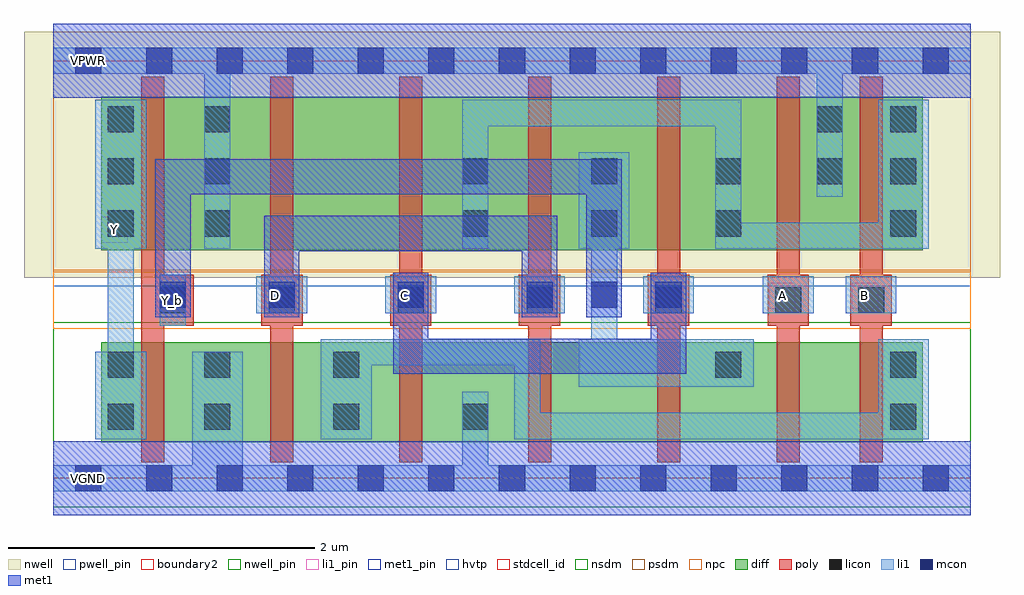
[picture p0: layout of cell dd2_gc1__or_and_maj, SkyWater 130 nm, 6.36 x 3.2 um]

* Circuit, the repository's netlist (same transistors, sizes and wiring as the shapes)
.subckt dd2_gc1__or_and_maj A B C D VGND VNB VPB VPWR Y
X0 Y_b C n1 VNB sky130_fd_pr__nfet_01v8 w=0.65 l=0.15
X1 n1 D VGND VNB sky130_fd_pr__nfet_01v8 w=0.65 l=0.15
X2 Y_b A n2 VNB sky130_fd_pr__nfet_01v8 w=0.65 l=0.15
X3 n2 B n3 VNB sky130_fd_pr__nfet_01v8 w=0.65 l=0.15
X4 n3 C VGND VNB sky130_fd_pr__nfet_01v8 w=0.65 l=0.15
X5 n3 D VGND VNB sky130_fd_pr__nfet_01v8 w=0.65 l=0.15
X6 Y_b C p1 VPB sky130_fd_pr__pfet_01v8_hvt w=1 l=0.15
X7 Y_b D p1 VPB sky130_fd_pr__pfet_01v8_hvt w=1 l=0.15
X8 p1 A VPWR VPB sky130_fd_pr__pfet_01v8_hvt w=1 l=0.15
X9 p1 B VPWR VPB sky130_fd_pr__pfet_01v8_hvt w=1 l=0.15
X10 p1 C p2 VPB sky130_fd_pr__pfet_01v8_hvt w=1 l=0.15
X11 p2 D VPWR VPB sky130_fd_pr__pfet_01v8_hvt w=1 l=0.15
X12 Y Y_b VGND VNB sky130_fd_pr__nfet_01v8 w=0.65 l=0.15
X13 Y Y_b VPWR VPB sky130_fd_pr__pfet_01v8_hvt w=1 l=0.15
.ends

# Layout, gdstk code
import gdstk
lib = gdstk.Library(unit=1e-6, precision=1e-09)
def R(c, l, rs):  # rectangles x0, y0, x1, y1
    for r in rs: c.add(gdstk.rectangle(r[:2], r[2:], *l))
def A(c, l, x, y, w, h, nx, ny, dx, dy):  # array of equal rectangles
    R(c, l, [(x+i*dx, y+j*dy, x+i*dx+w, y+j*dy+h) for i in range(nx) for j in range(ny)])
nwell_pin = (64, 16)
nwell = (64, 20)
diff = (65, 20)
poly = (66, 20)
licon = (66, 44)
li1_pin = (67, 16)
li1 = (67, 20)
mcon = (67, 44)
met1_pin = (68, 16)
met1 = (68, 20)
hvtp = (78, 44)
stdcell_id = (81, 4)
nsdm = (93, 44)
psdm = (94, 20)
npc = (95, 20)
pwell_pin = (122, 16)
boundary2 = (236, 0)

dd2_gc1__or_and_maj = lib.new_cell('dd2_gc1__or_and_maj')
R(dd2_gc1__or_and_maj, nwell_pin, [(0.145,2.635,0.315,2.805)])
R(dd2_gc1__or_and_maj, nwell, [(-0.19,1.305,6.17,2.91)])
R(dd2_gc1__or_and_maj, diff, [(0.315,0.235,5.665,0.885), (0.315,1.485,5.665,2.485)])
A(dd2_gc1__or_and_maj, poly, 0.575, 0.105, 0.15, 2.51, 5, 1, 0.84, 0)
A(dd2_gc1__or_and_maj, poly, 1.355, 0.995, 0.27, 0.33, 4, 1, 0.84, 0)
R(dd2_gc1__or_and_maj, poly, [(4.715,0.105,4.865,2.615), (5.255,0.105,5.405,2.615), (0.575,0.995,0.915,1.325), (4.655,0.995,4.925,1.325), (5.195,0.995,5.465,1.325)])
A(dd2_gc1__or_and_maj, licon, 0.985, 0.315, 0.17, 0.17, 3, 1, 0.84, 0)
A(dd2_gc1__or_and_maj, licon, 1.405, 1.075, 0.17, 0.17, 4, 1, 0.84, 0)
A(dd2_gc1__or_and_maj, licon, 0.355, 1.575, 0.17, 0.17, 1, 3, 0, 0.34)
A(dd2_gc1__or_and_maj, licon, 0.985, 1.575, 0.17, 0.17, 1, 3, 0, 0.34)
A(dd2_gc1__or_and_maj, licon, 5.455, 1.575, 0.17, 0.17, 1, 3, 0, 0.34)
R(dd2_gc1__or_and_maj, licon, [(0.355,0.315,0.525,0.485), (5.455,0.315,5.625,0.485), (0.355,0.655,0.525,0.825), (0.985,0.655,1.155,0.825), (1.825,0.655,1.995,0.825), (4.315,0.655,4.485,0.825), (5.455,0.655,5.625,0.825), (0.695,1.075,0.865,1.245), (4.705,1.075,4.875,1.245), (5.245,1.075,5.415,1.245), (2.665,1.575,2.835,1.745), (3.505,1.575,3.675,1.745), (4.315,1.575,4.485,1.745), (2.665,1.915,2.835,2.085), (3.505,1.915,3.675,2.085), (4.315,1.915,4.485,2.085), (4.975,1.915,5.145,2.085), (4.975,2.255,5.145,2.425)])
R(dd2_gc1__or_and_maj, li1_pin, [(1.365,1.105,1.535,1.275), (2.205,1.105,2.375,1.275), (4.665,1.105,4.835,1.275), (5.205,1.105,5.375,1.275), (0.315,1.535,0.485,1.705)])
A(dd2_gc1__or_and_maj, li1, 1.325, 1.075, 0.33, 0.24, 4, 1, 0.84, 0)
R(dd2_gc1__or_and_maj, li1, [(0,-0.085,5.98,0.085), (0.905,-0.085,1.235,0.825), (2.665,-0.085,2.835,0.565), (0.275,0.255,0.605,0.825), (1.745,0.255,2.075,0.905), (3.005,0.255,3.175,0.905), (3.005,0.255,5.705,0.425), (5.375,0.255,5.705,0.905), (3.425,0.595,4.565,0.905), (1.745,0.735,3.175,0.905), (0.355,0.815,0.525,1.505), (3.505,0.895,3.675,1.505), (0.695,0.995,0.865,1.325), (4.625,1.075,4.955,1.315), (5.165,1.075,5.495,1.315), (0.275,1.495,0.605,2.465), (0.985,1.495,1.155,2.805), (2.665,1.495,2.835,2.465), (3.425,1.495,3.755,2.125), (4.315,1.495,4.485,2.465), (4.315,1.495,5.705,1.665), (5.375,1.495,5.705,2.465), (4.975,1.835,5.145,2.805), (2.665,2.295,4.485,2.465), (0,2.635,5.98,2.805)])
A(dd2_gc1__or_and_maj, mcon, 0.145, -0.085, 0.17, 0.17, 13, 2, 0.46, 2.72)
A(dd2_gc1__or_and_maj, mcon, 1.405, 1.11, 0.17, 0.17, 3, 1, 0.84, 0)
R(dd2_gc1__or_and_maj, mcon, [(0.695,1.11,0.865,1.28), (3.505,1.11,3.675,1.28), (3.925,1.11,4.095,1.28)])
R(dd2_gc1__or_and_maj, met1_pin, [(0.145,-0.085,0.315,0.085), (0.145,2.635,0.315,2.805)])
R(dd2_gc1__or_and_maj, met1, [(0,-0.24,5.98,0.24), (2.215,0.68,2.445,1.34), (2.215,0.68,4.125,0.91), (3.895,0.68,4.125,1.34), (0.665,1.05,0.895,2.08), (1.375,1.05,1.605,1.71), (3.055,1.05,3.285,1.71), (3.475,1.05,3.705,2.08), (1.375,1.48,3.285,1.71), (0.665,1.85,3.705,2.08), (0,2.48,5.98,2.96)])
R(dd2_gc1__or_and_maj, hvtp, [(0,1.25,5.98,2.72)])
R(dd2_gc1__or_and_maj, stdcell_id, [(0,0,5.98,2.72)])
R(dd2_gc1__or_and_maj, nsdm, [(0,-0.19,5.98,1.015)])
R(dd2_gc1__or_and_maj, psdm, [(0,1.355,5.98,2.91)])
R(dd2_gc1__or_and_maj, npc, [(0,0.975,5.98,1.345)])
R(dd2_gc1__or_and_maj, pwell_pin, [(0.145,-0.085,0.315,0.085)])
R(dd2_gc1__or_and_maj, boundary2, [(0,0,5.98,2.72)])
dd2_gc1__or_and_maj.add(gdstk.Label('Y_b', (0.78,1.16), layer=67, texttype=5))
dd2_gc1__or_and_maj.add(gdstk.Label('D', (1.45,1.19), layer=67, texttype=5))
dd2_gc1__or_and_maj.add(gdstk.Label('C', (2.29,1.19), layer=67, texttype=5))
dd2_gc1__or_and_maj.add(gdstk.Label('A', (4.75,1.19), layer=67, texttype=5))
dd2_gc1__or_and_maj.add(gdstk.Label('B', (5.29,1.19), layer=67, texttype=5))
dd2_gc1__or_and_maj.add(gdstk.Label('Y', (0.4,1.62), layer=67, texttype=5))
dd2_gc1__or_and_maj.add(gdstk.Label('VGND', (0.23,0), layer=68, texttype=5))
dd2_gc1__or_and_maj.add(gdstk.Label('VPWR', (0.23,2.72), layer=68, texttype=5))
dd2_gc1__or_and_maj.add(gdstk.Label('VPB', (0.23,2.72), layer=64, texttype=5))
dd2_gc1__or_and_maj.add(gdstk.Label('VNB', (0.23,0), layer=64, texttype=59))

lib.write_gds('dd2_gc1__or_and_maj.gds')
